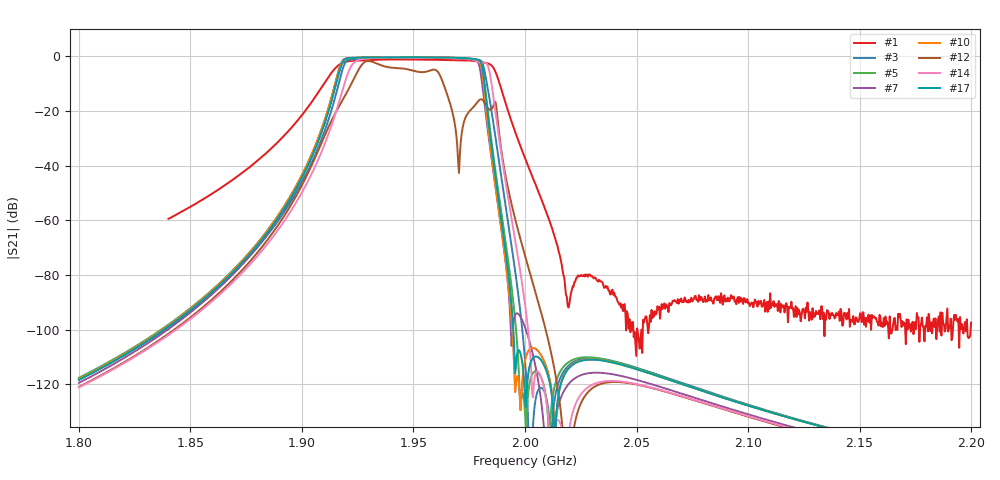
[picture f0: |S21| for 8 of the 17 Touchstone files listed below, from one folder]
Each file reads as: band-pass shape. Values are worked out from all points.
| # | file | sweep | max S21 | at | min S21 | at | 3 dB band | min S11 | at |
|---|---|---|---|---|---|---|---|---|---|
| 1 | 1900mea.s2p | 1.84 GHz to 2.2 GHz | -1.25 dB | 1.943 GHz | -109.6 dB | 2.05 GHz | 1.915 GHz-1.986 GHz | -26.5 dB | 1.976 GHz |
| 2 | D1.s2p | 1.8 GHz to 2.2 GHz | -2.66 dB | 1.95 GHz | -146.6 dB | 2.2 GHz | 1.949 GHz-1.952 GHz | -13.0 dB | 1.95 GHz |
| 3 | D2.s2p | 1.8 GHz to 2.2 GHz | -0.47 dB | 1.938 GHz | -148.0 dB | 2.2 GHz | 1.919 GHz-1.981 GHz | -25.8 dB | 1.936 GHz |
| 4 | D3.s2p | 1.8 GHz to 2.2 GHz | -0.45 dB | 1.946 GHz | -148.1 dB | 2.2 GHz | 1.918 GHz-1.981 GHz | -28.1 dB | 1.958 GHz |
| 5 | D4.s2p | 1.8 GHz to 2.2 GHz | -0.46 dB | 1.945 GHz | -148.2 dB | 2.2 GHz | 1.917 GHz-1.98 GHz | -31.7 dB | 1.934 GHz |
| 6 | D5.s2p | 1.8 GHz to 2.2 GHz | -0.45 dB | 1.946 GHz | -152.9 dB | 2.012 GHz | 1.919 GHz-1.982 GHz | -32.2 dB | 1.976 GHz |
| 7 | D6.s2p | 1.8 GHz to 2.2 GHz | -0.45 dB | 1.942 GHz | -188.7 dB | 2.01 GHz | 1.918 GHz-1.979 GHz | -50.9 dB | 1.942 GHz |
| 8 | D7.s2p | 1.8 GHz to 2.2 GHz | -0.45 dB | 1.943 GHz | -150.1 dB | 2.011 GHz | 1.918 GHz-1.98 GHz | -44.1 dB | 1.938 GHz |
| 9 | D8.s2p | 1.8 GHz to 2.2 GHz | -0.46 dB | 1.943 GHz | -148.7 dB | 2.2 GHz | 1.917 GHz-1.98 GHz | -32.7 dB | 1.919 GHz |
| 10 | D9.s2p | 1.8 GHz to 2.2 GHz | -0.44 dB | 1.945 GHz | -147.9 dB | 2.2 GHz | 1.918 GHz-1.98 GHz | -52.1 dB | 1.934 GHz |
| 11 | D10.s2p | 1.8 GHz to 2.2 GHz | -0.44 dB | 1.945 GHz | -148.0 dB | 2.2 GHz | 1.918 GHz-1.98 GHz | -42.6 dB | 1.956 GHz |
| 12 | S1.s2p | 1.8 GHz to 2.2 GHz | -1.81 dB | 1.93 GHz | -175.9 dB | 2.019 GHz | 1.926 GHz-1.947 GHz | -6.4 dB | 1.93 GHz |
| 13 | S2.s2p | 1.8 GHz to 2.2 GHz | -0.70 dB | 1.937 GHz | -161.9 dB | 2.014 GHz | 1.928 GHz-1.946 GHz | -15.3 dB | 1.937 GHz |
| 14 | S3.s2p | 1.8 GHz to 2.2 GHz | -0.48 dB | 1.939 GHz | -152.8 dB | 2.018 GHz | 1.922 GHz-1.983 GHz | -28.5 dB | 1.938 GHz |
| 15 | S4.s2p | 1.8 GHz to 2.2 GHz | -0.45 dB | 1.946 GHz | -161.7 dB | 2.013 GHz | 1.919 GHz-1.981 GHz | -49.3 dB | 1.952 GHz |
| 16 | S5.s2p | 1.8 GHz to 2.2 GHz | -0.46 dB | 1.943 GHz | -149.5 dB | 2.2 GHz | 1.918 GHz-1.98 GHz | -43.7 dB | 1.954 GHz |
| 17 | S6.s2p | 1.8 GHz to 2.2 GHz | -0.44 dB | 1.945 GHz | -148.0 dB | 2.2 GHz | 1.918 GHz-1.98 GHz | -41.0 dB | 1.921 GHz |
